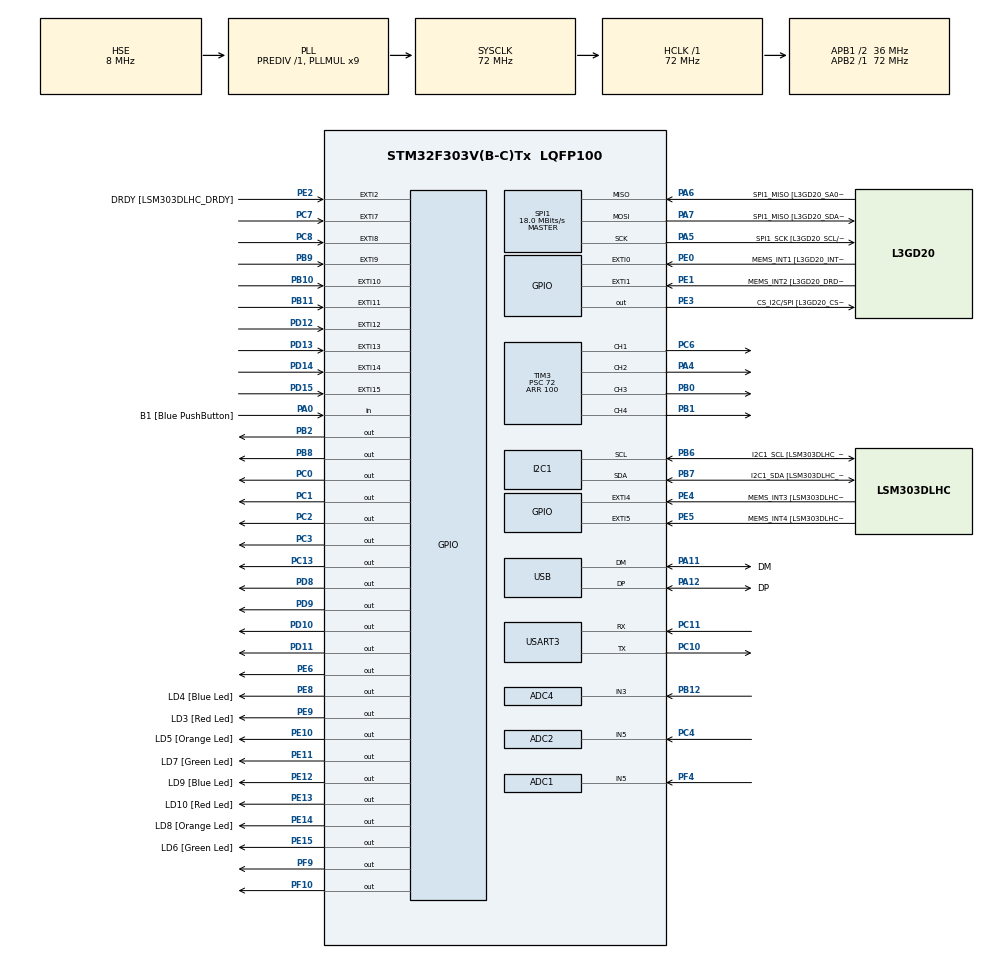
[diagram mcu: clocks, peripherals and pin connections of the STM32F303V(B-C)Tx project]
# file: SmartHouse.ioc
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ADC1.Channel-8\#ChannelRegularConversion=ADC_CHANNEL_5
ADC1.NbrOfConversionFlag=1
ADC1.Offset-8\#ChannelRegularConversion=0
ADC1.OffsetNumber-8\#ChannelRegularConversion=ADC_OFFSET_NONE
ADC1.Rank-8\#ChannelRegularConversion=1
ADC1.SamplingTime-8\#ChannelRegularConversion=ADC_SAMPLETIME_601CYCLES_5
ADC1.master=1
ADC2.Channel-0\#ChannelRegularConversion=ADC_CHANNEL_5
ADC2.NbrOfConversionFlag=1
ADC2.Offset-0\#ChannelRegularConversion=0
ADC2.OffsetNumber-0\#ChannelRegularConversion=ADC_OFFSET_NONE
ADC2.Rank-0\#ChannelRegularConversion=1
ADC2.SamplingTime-0\#ChannelRegularConversion=ADC_SAMPLETIME_601CYCLES_5
ADC4.Channel-0\#ChannelRegularConversion=ADC_CHANNEL_3
ADC4.NbrOfConversionFlag=1
ADC4.Offset-0\#ChannelRegularConversion=0
ADC4.OffsetNumber-0\#ChannelRegularConversion=ADC_OFFSET_NONE
ADC4.Rank-0\#ChannelRegularConversion=1
ADC4.SamplingTime-0\#ChannelRegularConversion=ADC_SAMPLETIME_601CYCLES_5
I2C1.Timing-I2C=0x2000090E
Mcu.Family=STM32F3
Mcu.Name=STM32F303V(B-C)Tx
Mcu.Package=LQFP100
NVIC.EXTI15_10_IRQn=true\:2\:0\:true\:false\:true\:true
NVIC.EXTI9_5_IRQn=true\:2\:0\:true\:false\:true\:true
NVIC.PriorityGroup=NVIC_PRIORITYGROUP_2
NVIC.TIM1_BRK_TIM15_IRQn=true\:1\:0\:true\:false\:true\:true
NVIC.TIM1_UP_TIM16_IRQn=true\:1\:0\:true\:false\:true\:true
NVIC.TIM2_IRQn=true\:2\:0\:true\:false\:true\:true
NVIC.TIM3_IRQn=true\:0\:0\:false\:false\:true\:true
NVIC.TIM4_IRQn=true\:1\:0\:true\:false\:true\:true
NVIC.TIM8_UP_IRQn=true\:2\:0\:true\:false\:true\:true
NVIC.USART3_IRQn=true\:1\:0\:true\:false\:true\:true
PA0.GPIO_Label=B1 [Blue PushButton]
PA0.Signal=GPIO_Input
PA11.GPIO_Label=DM
PA11.Mode=Device
PA11.Signal=USB_DM
PA12.GPIO_Label=DP
PA12.Mode=Device
PA12.Signal=USB_DP
PA13.GPIO_Label=SWDIO
PA13.Mode=Serial_Wire
PA13.Signal=SYS_JTMS-SWDIO
PA14.GPIO_Label=SWCLK
PA14.Mode=Serial_Wire
PA14.Signal=SYS_JTCK-SWCLK
PA4.Signal=S_TIM3_CH2
PA5.GPIO_Label=SPI1_SCK [L3GD20_SCL/SPC]
PA5.Mode=Full_Duplex_Master
PA5.Signal=SPI1_SCK
PA6.GPIO_Label=SPI1_MISO [L3GD20_SA0/SDO]
PA6.Mode=Full_Duplex_Master
PA6.Signal=SPI1_MISO
PA7.GPIO_Label=SPI1_MISO [L3GD20_SDA/SDI/SDO]
PA7.Mode=Full_Duplex_Master
PA7.Signal=SPI1_MOSI
PB0.Signal=S_TIM3_CH3
PB1.Signal=S_TIM3_CH4
PB10.GPIO_PuPd=GPIO_PULLDOWN
PB10.Signal=GPXTI10
PB11.GPIO_PuPd=GPIO_PULLDOWN
PB11.Signal=GPXTI11
PB12.Mode=IN3-Single-Ended
PB12.Signal=ADC4_IN3
PB2.Signal=GPIO_Output
PB3.GPIO_Label=SWO
PB3.Signal=SYS_JTDO-TRACESWO
PB6.GPIO_Label=I2C1_SCL [LSM303DLHC_SCL]
PB6.Mode=I2C
PB6.Signal=I2C1_SCL
PB7.GPIO_Label=I2C1_SDA [LSM303DLHC_SDA]
PB7.Mode=I2C
PB7.Signal=I2C1_SDA
PB8.Signal=GPIO_Output
PB9.Signal=GPXTI9
PC0.Signal=GPIO_Output
PC1.Signal=GPIO_Output
PC10.Mode=Asynchronous
PC10.Signal=USART3_TX
PC11.Mode=Asynchronous
PC11.Signal=USART3_RX
PC13.Signal=GPIO_Output
PC14-OSC32_IN.GPIO_Label=OSC32_IN
PC14-OSC32_IN.Signal=RCC_OSC32_IN
PC15-OSC32_OUT.GPIO_Label=OSC32_OUT
PC15-OSC32_OUT.Signal=RCC_OSC32_OUT
PC2.Signal=GPIO_Output
PC3.Signal=GPIO_Output
PC4.Mode=IN5-Single-Ended
PC4.Signal=ADC2_IN5
PC6.Signal=S_TIM3_CH1
PC7.GPIO_PuPd=GPIO_PULLDOWN
PC7.Signal=GPXTI7
PC8.GPIO_PuPd=GPIO_PULLDOWN
PC8.Signal=GPXTI8
PD10.Signal=GPIO_Output
PD11.Signal=GPIO_Output
PD12.GPIO_PuPd=GPIO_PULLDOWN
PD12.Signal=GPXTI12
PD13.GPIO_PuPd=GPIO_PULLDOWN
PD13.Signal=GPXTI13
PD14.GPIO_PuPd=GPIO_PULLDOWN
PD14.Signal=GPXTI14
PD15.GPIO_PuPd=GPIO_PULLDOWN
PD15.Signal=GPXTI15
PD8.Signal=GPIO_Output
PD9.Signal=GPIO_Output
PE0.GPIO_Label=MEMS_INT1 [L3GD20_INT1]
PE0.GPIO_ModeDefaultEXTI=GPIO_MODE_EVT_RISING
PE0.Signal=GPXTI0
PE1.GPIO_Label=MEMS_INT2 [L3GD20_DRDY/INT2]
PE1.GPIO_ModeDefaultEXTI=GPIO_MODE_EVT_RISING
PE1.Signal=GPXTI1
PE10.GPIO_Label=LD5 [Orange Led]
PE10.Signal=GPIO_Output
PE11.GPIO_Label=LD7 [Green Led]
PE11.Signal=GPIO_Output
PE12.GPIO_Label=LD9 [Blue Led]
PE12.Signal=GPIO_Output
PE13.GPIO_Label=LD10 [Red Led]
PE13.Signal=GPIO_Output
PE14.GPIO_Label=LD8 [Orange Led]
PE14.Signal=GPIO_Output
PE15.GPIO_Label=LD6 [Green Led]
PE15.Signal=GPIO_Output
PE2.GPIO_Label=DRDY [LSM303DLHC_DRDY]
PE2.GPIO_ModeDefaultEXTI=GPIO_MODE_EVT_RISING
PE2.Signal=GPXTI2
PE3.GPIO_Label=CS_I2C/SPI [L3GD20_CS_I2C/SPI]
PE3.Signal=GPIO_Output
PE4.GPIO_Label=MEMS_INT3 [LSM303DLHC_INT1]
PE4.GPIO_ModeDefaultEXTI=GPIO_MODE_EVT_RISING
PE4.Signal=GPXTI4
PE5.GPIO_Label=MEMS_INT4 [LSM303DLHC_INT2]
PE5.GPIO_ModeDefaultEXTI=GPIO_MODE_EVT_RISING
PE5.Signal=GPXTI5
PE6.Signal=GPIO_Output
PE8.GPIO_Label=LD4 [Blue Led]
PE8.Signal=GPIO_Output
PE9.GPIO_Label=LD3 [Red Led]
PE9.Signal=GPIO_Output
PF0-OSC_IN.GPIO_Label=OSC_IN
PF0-OSC_IN.Mode=HSE-External-Clock-Source
PF0-OSC_IN.Signal=RCC_OSC_IN
PF1-OSC_OUT.GPIO_Label=OSC_OUT
PF1-OSC_OUT.Signal=RCC_OSC_OUT
PF10.Signal=GPIO_Output
PF4.Mode=IN5-Single-Ended
PF4.Signal=ADC1_IN5
PF9.Signal=GPIO_Output
ProjectManager.HeapSize=0x200
ProjectManager.StackSize=0x400
ProjectManager.TargetToolchain=MDK-ARM V5
RCC.AHBFreq_Value=72000000
RCC.APB1CLKDivider=RCC_HCLK_DIV2
RCC.APB1Freq_Value=36000000
RCC.APB1TimFreq_Value=72000000
RCC.APB2Freq_Value=72000000
RCC.APB2TimFreq_Value=72000000
RCC.CortexFreq_Value=72000000
RCC.HCLKFreq_Value=72000000
RCC.HSE_VALUE=8000000
RCC.HSI_VALUE=8000000
RCC.LSE_VALUE=32768
RCC.PLLMUL=RCC_PLL_MUL9
RCC.PRESCALERUSB=RCC_USBCLKSOURCE_PLL_DIV1_5
RCC.SYSCLKFreq_VALUE=72000000
RCC.SYSCLKSourceVirtual=RCC_SYSCLKSOURCE_PLLCLK
RCC.USBFreq_Value=48000000
RTC.AsynchPrediv=5
RTC.Format=RTC_FORMAT_BCD
RTC.SynchPrediv=22
SH.S_TIM3_CH1.0=TIM3_CH1,PWM Generation1 CH1
SH.S_TIM3_CH2.0=TIM3_CH2,PWM Generation2 CH2
SH.S_TIM3_CH3.0=TIM3_CH3,PWM Generation3 CH3
SH.S_TIM3_CH4.0=TIM3_CH4,PWM Generation4 CH4
SPI1.BaudRatePrescaler=SPI_BAUDRATEPRESCALER_4
SPI1.BaudRatePrescaler-Full_Duplex_Master=SPI_BAUDRATEPRESCALER_2
SPI1.CalculateBaudRate=18.0 MBits/s
SPI1.CalculateBaudRate-Full_Duplex_Master=24.0 MBits/s
SPI1.Direction=SPI_DIRECTION_2LINES
SPI1.Mode=SPI_MODE_MASTER
SPI1.Mode-Full_Duplex_Master=SPI_MODE_MASTER
SPI1.VirtualType=VM_MASTER
TIM15.Period=1000
TIM15.Prescaler=215
TIM16.Period=10000
TIM16.Prescaler=3599
TIM2.Period=10000
TIM2.Prescaler=7199
TIM3.Channel-PWM\ Generation1\ CH1=TIM_CHANNEL_1
TIM3.Channel-PWM\ Generation2\ CH2=TIM_CHANNEL_2
TIM3.Channel-PWM\ Generation3\ CH3=TIM_CHANNEL_3
TIM3.Channel-PWM\ Generation4\ CH4=TIM_CHANNEL_4
TIM3.Period=100
TIM3.Prescaler=72
TIM4.Period=1000
TIM4.Prescaler=7199
TIM8.Period=10000
TIM8.Prescaler=24
USART3.VirtualMode-Asynchronous=VM_ASYNC
VP_RTC_VS_RTC_Activate.Mode=RTC_Enabled
VP_RTC_VS_RTC_Calendar.Mode=RTC_Calendar
VP_TIM15_VS_ClockSourceINT.Mode=Internal
VP_TIM16_VS_ClockSourceINT.Mode=Enable_Timer
VP_TIM2_VS_ClockSourceINT.Mode=Internal
VP_TIM3_VS_ClockSourceINT.Mode=Internal
VP_TIM4_VS_ClockSourceINT.Mode=Internal
VP_TIM8_VS_ClockSourceINT.Mode=Internal
board=STM32F3DISCOVERY

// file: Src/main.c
/**
  ******************************************************************************
  * @file           : main.c
  * @brief          : Main program body
  ******************************************************************************
  ** This notice applies to any and all portions of this file
  * that are not between comment pairs USER CODE BEGIN and
  * USER CODE END. Other portions of this file, whether
  * inserted by the user or by software development tools
  * are owned by their respective copyright owners.
  *
  * COPYRIGHT(c) 2021 STMicroelectronics
  *
  * Redistribution and use in source and binary forms, with or without modification,
  * are permitted provided that the following conditions are met:
  *   1. Redistributions of source code must retain the above copyright notice,
  *      this list of conditions and the following disclaimer.
  *   2. Redistributions in binary form must reproduce the above copyright notice,
  *      this list of conditions and the following disclaimer in the documentation
  *      and/or other materials provided with the distribution.
  *   3. Neither the name of STMicroelectronics nor the names of its contributors
  *      may be used to endorse or promote products derived from this software
  *      without specific prior written permission.
  *
  * THIS SOFTWARE IS PROVIDED BY THE COPYRIGHT HOLDERS AND CONTRIBUTORS "AS IS"
  * AND ANY EXPRESS OR IMPLIED WARRANTIES, INCLUDING, BUT NOT LIMITED TO, THE
  * IMPLIED WARRANTIES OF MERCHANTABILITY AND FITNESS FOR A PARTICULAR PURPOSE ARE
  * DISCLAIMED. IN NO EVENT SHALL THE COPYRIGHT HOLDER OR CONTRIBUTORS BE LIABLE
  * FOR ANY DIRECT, INDIRECT, INCIDENTAL, SPECIAL, EXEMPLARY, OR CONSEQUENTIAL
  * DAMAGES (INCLUDING, BUT NOT LIMITED TO, PROCUREMENT OF SUBSTITUTE GOODS OR
  * SERVICES; LOSS OF USE, DATA, OR PROFITS; OR BUSINESS INTERRUPTION) HOWEVER
  * CAUSED AND ON ANY THEORY OF LIABILITY, WHETHER IN CONTRACT, STRICT LIABILITY,
  * OR TORT (INCLUDING NEGLIGENCE OR OTHERWISE) ARISING IN ANY WAY OUT OF THE USE
  * OF THIS SOFTWARE, EVEN IF ADVISED OF THE POSSIBILITY OF SUCH DAMAGE.
  *
  ******************************************************************************
  */
#include "main.h"
#include "stm32f3xx_hal.h"

/* USER CODE BEGIN Includes */
#include <stdbool.h>
#include "LiquidCrystal.h"

/* USER CODE END Includes */

ADC_HandleTypeDef hadc1;
ADC_HandleTypeDef hadc2;
ADC_HandleTypeDef hadc4;

I2C_HandleTypeDef hi2c1;

RTC_HandleTypeDef hrtc;

SPI_HandleTypeDef hspi1;

TIM_HandleTypeDef htim2;
TIM_HandleTypeDef htim3;
TIM_HandleTypeDef htim4;
TIM_HandleTypeDef htim8;
TIM_HandleTypeDef htim15;
TIM_HandleTypeDef htim16;

UART_HandleTypeDef huart3;

PCD_HandleTypeDef hpcd_USB_FS;

/* USER CODE BEGIN PV */
/* Private variables ---------------------------------------------------------*/

struct Room{
	bool isOn;
	int fade;
	uint16_t channel;
	uint16_t buttonPin;
	GPIO_TypeDef* buttonTypeDef;
};

struct Room createRoom(uint16_t channel, GPIO_TypeDef* buttonTypeDef, uint16_t buttonPin){
	struct Room room;
	room.channel = channel;
	room.buttonTypeDef = buttonTypeDef;
	room.buttonPin = buttonPin;
	room.isOn = false;
	room.fade = 0;
	return room;
}

struct Room rooms[4];

RTC_TimeTypeDef myTime;
RTC_DateTypeDef myDate;

char uartChar;

typedef unsigned char byte;
void createChars(){
	//Abbaszadeh
	byte A[8] = {
		0x00,
		0x00,
		0x06,
		0x09,
		0x08,
		0x1F,
		0x00,
		0x00
	};

	byte Ba[8] = {
		0x00,
		0x08,
		0x08,
		0x08,
		0x0A,
		0x0F,
		0x00,
		0x04
	};

	byte S1[8] = {
		0x00,
		0x00,
		0x00,
		0x15,
		0x1F,
		0x10,
		0x10,
		0x10
	};

	byte S2[8] = {
		0x00,
		0x00,
		0x00,
		0x00,
		0x08,
		0x08,
		0x08,
		0x0F
	};

	byte Za[8] = {
		0x10,
		0x10,
		0x11,
		0x10,
		0x11,
		0x11,
		0x02,
		0x0C
	};

	byte D[8] = {
		0x00,
		0x00,
		0x04,
		0x02,
		0x01,
		0x12,
		0x0C,
		0x00
	};

	byte H[8] = {
		0x00,
		0x00,
		0x04,
		0x06,
		0x09,
		0x11,
		0x0E,
		0x00
	};

	byte lightOff[8] = {
  0x00,
  0x00,
  0x0E,
  0x11,
  0x11,
  0x11,
  0x0E,
  0x00
	};

	byte lightOn[] = {
		0x00,
		0x00,
		0x0E,
		0x1F,
		0x1F,
		0x1F,
		0x0E,
		0x00
	};

	createChar(0, A);
  createChar(1, Ba);
  createChar(2, S1);
  createChar(3, S2);
  createChar(4, Za);
  createChar(5, D);
  createChar(6, H);
  createChar(7, lightOn);
}

extern void sendUsart(char* message);

/* USER CODE END PV */

void SystemClock_Config(void);
static void MX_GPIO_Init(void);
static void MX_I2C1_Init(void);
static void MX_SPI1_Init(void);
static void MX_USB_PCD_Init(void);
static void MX_TIM3_Init(void);
static void MX_ADC1_Init(void);
static void MX_ADC2_Init(void);
static void MX_ADC4_Init(void);
static void MX_RTC_Init(void);
static void MX_TIM2_Init(void);
static void MX_TIM4_Init(void);
static void MX_TIM15_Init(void);
static void MX_TIM16_Init(void);
static void MX_USART3_UART_Init(void);
static void MX_TIM8_Init(void);

void HAL_TIM_MspPostInit(TIM_HandleTypeDef *htim);

/* USER CODE BEGIN PFP */
/* Private function prototypes -----------------------------------------------*/

/* USER CODE END PFP */

int main(void)
{

  /* MCU Configuration----------------------------------------------------------*/

  /* Reset of all peripherals, Initializes the Flash interface and the Systick. */
  HAL_Init();

  /* Configure the system clock */
  SystemClock_Config();

  /* Initialize all configured peripherals */
  MX_GPIO_Init();
  MX_I2C1_Init();
  MX_SPI1_Init();
  MX_USB_PCD_Init();
  MX_TIM3_Init();
  MX_ADC1_Init();
  MX_ADC2_Init();
  MX_ADC4_Init();
  MX_RTC_Init();
  MX_TIM2_Init();
  MX_TIM4_Init();
  MX_TIM15_Init();
  MX_TIM16_Init();
  MX_USART3_UART_Init();
  MX_TIM8_Init();
  /* USER CODE BEGIN 2 */

	// Menu
	LiquidCrystal(GPIOD, GPIO_PIN_6, GPIO_PIN_5, GPIO_PIN_4, GPIO_PIN_3, GPIO_PIN_2, GPIO_PIN_1, GPIO_PIN_0);
	begin(20, 4);
	createChars();
	setCursor(7,0);
	print("Status");
	setCursor(5,1);
	print("Deactivate");
	setCursor(3,2);
	print("Change password");
	setCursor(6,3);
	print("About us");

	HAL_UART_Receive_IT(&huart3, &uartChar, sizeof(uartChar));

	rooms[0] = createRoom(TIM_CHANNEL_3 , GPIOB, GPIO_PIN_10);
	rooms[1] = createRoom(TIM_CHANNEL_2 , GPIOB, GPIO_PIN_11);
	rooms[2] = createRoom(TIM_CHANNEL_4 , GPIOC, GPIO_PIN_7);
	rooms[3] = createRoom(TIM_CHANNEL_1 , GPIOC, GPIO_PIN_8);

	// Keypad
	HAL_GPIO_WritePin(GPIOD, GPIO_PIN_8, 1);
	HAL_GPIO_WritePin(GPIOD, GPIO_PIN_9, 1);
	HAL_GPIO_WritePin(GPIOD, GPIO_PIN_10, 1);
	HAL_GPIO_WritePin(GPIOD, GPIO_PIN_11, 1);

	// PWMs
	HAL_TIM_PWM_Start(&htim3, TIM_CHANNEL_1);
	HAL_TIM_PWM_Start(&htim3, TIM_CHANNEL_2);
	HAL_TIM_PWM_Start(&htim3, TIM_CHANNEL_3);
	HAL_TIM_PWM_Start(&htim3, TIM_CHANNEL_4);

	// RTC
	myTime.Hours = 23;
	myTime.Minutes = 55;
	myTime.Seconds = 00;

	myDate.Year = 21;
	myDate.Month = 1;
	myDate.Date = 12;

	HAL_RTC_SetDate(&hrtc, &myDate, RTC_FORMAT_BIN);
	HAL_RTC_SetTime(&hrtc, &myTime, RTC_FORMAT_BIN);

	sendUsart("System running...");

	// Timers
	HAL_TIM_Base_Start_IT(&htim2);
	HAL_TIM_Base_Start_IT(&htim4);
	HAL_TIM_Base_Start_IT(&htim15);
	HAL_TIM_Base_Start_IT(&htim16);
	HAL_TIM_Base_Start_IT(&htim8);

	// ADCs
	HAL_ADC_Start_IT(&hadc1);
	HAL_ADC_Start_IT(&hadc2);
	HAL_ADC_Start_IT(&hadc4);

  /* USER CODE END 2 */

  /* Infinite loop */
  /* USER CODE BEGIN WHILE */
	int brightness = 100;

  while (1)
  {
//		turnOff7seg();
//			HAL_GPIO_WritePin(GPIOF, GPIO_PIN_9, 0);
//		numberToBCD(2);
//
//		HAL_Delay(3);
//
//		turnOff7seg();
//			HAL_GPIO_WritePin(GPIOF, GPIO_PIN_10, 0);
//		numberToBCD(5);
//		HAL_GPIO_WritePin(GPIOB,GPIO_PIN_2,1);
//
//		HAL_Delay(3);
//
//		turnOff7seg();
//			HAL_GPIO_WritePin(GPIOC, GPIO_PIN_13, 0);
//		numberToBCD(8);
//
//		HAL_Delay(3);
//
//		turnOff7seg();
//			HAL_GPIO_WritePin(GPIOE, GPIO_PIN_6, 0);
//		numberToBCD(1);
//
//		HAL_Delay(3);

//		__HAL_TIM_SET_COMPARE(&htim3, TIM_CHANNEL_1, brightness);
//		__HAL_TIM_SET_COMPARE(&htim3, TIM_CHANNEL_2, brightness);
//		__HAL_TIM_SET_COMPARE(&htim3, TIM_CHANNEL_3, brightness);
//		__HAL_TIM_SET_COMPARE(&htim3, TIM_CHANNEL_4, brightness);
		//brightness = (brightness+10)%100;
		//HAL_Delay(100);

  /* USER CODE END WHILE */

  }

}

void SystemClock_Config(void)
{

  RCC_OscInitTypeDef RCC_OscInitStruct;
  RCC_ClkInitTypeDef RCC_ClkInitStruct;
  RCC_PeriphCLKInitTypeDef PeriphClkInit;

    /**Initializes the CPU, AHB and APB busses clocks
    */
  RCC_OscInitStruct.OscillatorType = RCC_OSCILLATORTYPE_HSI|RCC_OSCILLATORTYPE_LSI
                              |RCC_OSCILLATORTYPE_HSE;
  RCC_OscInitStruct.HSEState = RCC_HSE_BYPASS;
  RCC_OscInitStruct.HSEPredivValue = RCC_HSE_PREDIV_DIV1;
  RCC_OscInitStruct.HSIState = RCC_HSI_ON;
  RCC_OscInitStruct.HSICalibrationValue = 16;
  RCC_OscInitStruct.LSIState = RCC_LSI_ON;
  RCC_OscInitStruct.PLL.PLLState = RCC_PLL_ON;
  RCC_OscInitStruct.PLL.PLLSource = RCC_PLLSOURCE_HSE;
  RCC_OscInitStruct.PLL.PLLMUL = RCC_PLL_MUL9;
  if (HAL_RCC_OscConfig(&RCC_OscInitStruct) != HAL_OK)
  {
    _Error_Handler(__FILE__, __LINE__);
  }

    /**Initializes the CPU, AHB and APB busses clocks
    */
  RCC_ClkInitStruct.ClockType = RCC_CLOCKTYPE_HCLK|RCC_CLOCKTYPE_SYSCLK
                              |RCC_CLOCKTYPE_PCLK1|RCC_CLOCKTYPE_PCLK2;
  RCC_ClkInitStruct.SYSCLKSource = RCC_SYSCLKSOURCE_PLLCLK;
  RCC_ClkInitStruct.AHBCLKDivider = RCC_SYSCLK_DIV1;
  RCC_ClkInitStruct.APB1CLKDivider = RCC_HCLK_DIV2;
  RCC_ClkInitStruct.APB2CLKDivider = RCC_HCLK_DIV1;

  if (HAL_RCC_ClockConfig(&RCC_ClkInitStruct, FLASH_LATENCY_2) != HAL_OK)
  {
    _Error_Handler(__FILE__, __LINE__);
  }

  PeriphClkInit.PeriphClockSelection = RCC_PERIPHCLK_USB|RCC_PERIPHCLK_USART3
                              |RCC_PERIPHCLK_I2C1|RCC_PERIPHCLK_RTC
                              |RCC_PERIPHCLK_TIM8|RCC_PERIPHCLK_ADC12
                              |RCC_PERIPHCLK_ADC34;
  PeriphClkInit.Usart3ClockSelection = RCC_USART3CLKSOURCE_PCLK1;
  PeriphClkInit.Adc12ClockSelection = RCC_ADC12PLLCLK_DIV1;
  PeriphClkInit.Adc34ClockSelection = RCC_ADC34PLLCLK_DIV1;
  PeriphClkInit.I2c1ClockSelection = RCC_I2C1CLKSOURCE_HSI;
  PeriphClkInit.RTCClockSelection = RCC_RTCCLKSOURCE_LSI;
  PeriphClkInit.USBClockSelection = RCC_USBCLKSOURCE_PLL_DIV1_5;
  PeriphClkInit.Tim8ClockSelection = RCC_TIM8CLK_HCLK;
  if (HAL_RCCEx_PeriphCLKConfig(&PeriphClkInit) != HAL_OK)
  {
    _Error_Handler(__FILE__, __LINE__);
  }

    /**Configure the Systick interrupt time
    */
  HAL_SYSTICK_Config(HAL_RCC_GetHCLKFreq()/1000);

    /**Configure the Systick
    */
  HAL_SYSTICK_CLKSourceConfig(SYSTICK_CLKSOURCE_HCLK);

  /* SysTick_IRQn interrupt configuration */
  HAL_NVIC_SetPriority(SysTick_IRQn, 0, 0);
}

/* ADC1 init function */
static void MX_ADC1_Init(void)
{

  ADC_MultiModeTypeDef multimode;
  ADC_ChannelConfTypeDef sConfig;

    /**Common config
    */
  hadc1.Instance = ADC1;
  hadc1.Init.ClockPrescaler = ADC_CLOCK_ASYNC_DIV1;
  hadc1.Init.Resolution = ADC_RESOLUTION_12B;
  hadc1.Init.ScanConvMode = ADC_SCAN_DISABLE;
  hadc1.Init.ContinuousConvMode = DISABLE;
  hadc1.Init.DiscontinuousConvMode = DISABLE;
  hadc1.Init.ExternalTrigConvEdge = ADC_EXTERNALTRIGCONVEDGE_NONE;
  hadc1.Init.ExternalTrigConv = ADC_SOFTWARE_START;
  hadc1.Init.DataAlign = ADC_DATAALIGN_RIGHT;
  hadc1.Init.NbrOfConversion = 1;
  hadc1.Init.DMAContinuousRequests = DISABLE;
  hadc1.Init.EOCSelection = ADC_EOC_SINGLE_CONV;
  hadc1.Init.LowPowerAutoWait = DISABLE;
  hadc1.Init.Overrun = ADC_OVR_DATA_OVERWRITTEN;
  if (HAL_ADC_Init(&hadc1) != HAL_OK)
  {
    _Error_Handler(__FILE__, __LINE__);
  }

    /**Configure the ADC multi-mode
    */
  multimode.Mode = ADC_MODE_INDEPENDENT;
  if (HAL_ADCEx_MultiModeConfigChannel(&hadc1, &multimode) != HAL_OK)
  {
    _Error_Handler(__FILE__, __LINE__);
  }

    /**Configure Regular Channel
    */
  sConfig.Channel = ADC_CHANNEL_5;
  sConfig.Rank = ADC_REGULAR_RANK_1;
  sConfig.SingleDiff = ADC_SINGLE_ENDED;
  sConfig.SamplingTime = ADC_SAMPLETIME_601CYCLES_5;
  sConfig.OffsetNumber = ADC_OFFSET_NONE;
  sConfig.Offset = 0;
  if (HAL_ADC_ConfigChannel(&hadc1, &sConfig) != HAL_OK)
  {
    _Error_Handler(__FILE__, __LINE__);
  }

}

/* ADC2 init function */
static void MX_ADC2_Init(void)
{

  ADC_ChannelConfTypeDef sConfig;

    /**Common config
    */
  hadc2.Instance = ADC2;
  hadc2.Init.ClockPrescaler = ADC_CLOCK_ASYNC_DIV1;
  hadc2.Init.Resolution = ADC_RESOLUTION_12B;
  hadc2.Init.ScanConvMode = ADC_SCAN_DISABLE;
  hadc2.Init.ContinuousConvMode = DISABLE;
  hadc2.Init.DiscontinuousConvMode = DISABLE;
  hadc2.Init.ExternalTrigConvEdge = ADC_EXTERNALTRIGCONVEDGE_NONE;
  hadc2.Init.ExternalTrigConv = ADC_SOFTWARE_START;
  hadc2.Init.DataAlign = ADC_DATAALIGN_RIGHT;
  hadc2.Init.NbrOfConversion = 1;
  hadc2.Init.DMAContinuousRequests = DISABLE;
  hadc2.Init.EOCSelection = ADC_EOC_SINGLE_CONV;
  hadc2.Init.LowPowerAutoWait = DISABLE;
  hadc2.Init.Overrun = ADC_OVR_DATA_OVERWRITTEN;
  if (HAL_ADC_Init(&hadc2) != HAL_OK)
  {
    _Error_Handler(__FILE__, __LINE__);
  }

    /**Configure Regular Channel
    */
  sConfig.Channel = ADC_CHANNEL_5;
  sConfig.Rank = ADC_REGULAR_RANK_1;
  sConfig.SingleDiff = ADC_SINGLE_ENDED;
  sConfig.SamplingTime = ADC_SAMPLETIME_601CYCLES_5;
  sConfig.OffsetNumber = ADC_OFFSET_NONE;
  sConfig.Offset = 0;
  if (HAL_ADC_ConfigChannel(&hadc2, &sConfig) != HAL_OK)
  {
    _Error_Handler(__FILE__, __LINE__);
  }

}

/* ADC4 init function */
static void MX_ADC4_Init(void)
{

  ADC_ChannelConfTypeDef sConfig;

    /**Common config
    */
  hadc4.Instance = ADC4;
  hadc4.Init.ClockPrescaler = ADC_CLOCK_ASYNC_DIV1;
  hadc4.Init.Resolution = ADC_RESOLUTION_12B;
  hadc4.Init.ScanConvMode = ADC_SCAN_DISABLE;
  hadc4.Init.ContinuousConvMode = DISABLE;
  hadc4.Init.DiscontinuousConvMode = DISABLE;
  hadc4.Init.ExternalTrigConvEdge = ADC_EXTERNALTRIGCONVEDGE_NONE;
  hadc4.Init.ExternalTrigConv = ADC_SOFTWARE_START;
  hadc4.Init.DataAlign = ADC_DATAALIGN_RIGHT;
  hadc4.Init.NbrOfConversion = 1;
  hadc4.Init.DMAContinuousRequests = DISABLE;
  hadc4.Init.EOCSelection = ADC_EOC_SINGLE_CONV;
  hadc4.Init.LowPowerAutoWait = DISABLE;
  hadc4.Init.Overrun = ADC_OVR_DATA_OVERWRITTEN;
  if (HAL_ADC_Init(&hadc4) != HAL_OK)
  {
    _Error_Handler(__FILE__, __LINE__);
  }

    /**Configure Regular Channel
    */
  sConfig.Channel = ADC_CHANNEL_3;
  sConfig.Rank = ADC_REGULAR_RANK_1;
  sConfig.SingleDiff = ADC_SINGLE_ENDED;
  sConfig.SamplingTime = ADC_SAMPLETIME_601CYCLES_5;
  sConfig.OffsetNumber = ADC_OFFSET_NONE;
  sConfig.Offset = 0;
  if (HAL_ADC_ConfigChannel(&hadc4, &sConfig) != HAL_OK)
  {
    _Error_Handler(__FILE__, __LINE__);
  }

}

/* I2C1 init function */
static void MX_I2C1_Init(void)
{

  hi2c1.Instance = I2C1;
  hi2c1.Init.Timing = 0x2000090E;
  hi2c1.Init.OwnAddress1 = 0;
  hi2c1.Init.AddressingMode = I2C_ADDRESSINGMODE_7BIT;
  hi2c1.Init.DualAddressMode = I2C_DUALADDRESS_DISABLE;
  hi2c1.Init.OwnAddress2 = 0;
  hi2c1.Init.OwnAddress2Masks = I2C_OA2_NOMASK;
  hi2c1.Init.GeneralCallMode = I2C_GENERALCALL_DISABLE;
  hi2c1.Init.NoStretchMode = I2C_NOSTRETCH_DISABLE;
  if (HAL_I2C_Init(&hi2c1) != HAL_OK)
  {
    _Error_Handler(__FILE__, __LINE__);
  }

    /**Configure Analogue filter
    */
  if (HAL_I2CEx_ConfigAnalogFilter(&hi2c1, I2C_ANALOGFILTER_ENABLE) != HAL_OK)
  {
    _Error_Handler(__FILE__, __LINE__);
  }

    /**Configure Digital filter
    */
  if (HAL_I2CEx_ConfigDigitalFilter(&hi2c1, 0) != HAL_OK)
  {
    _Error_Handler(__FILE__, __LINE__);
  }

}

/* RTC init function */
static void MX_RTC_Init(void)
{

  RTC_TimeTypeDef sTime;
  RTC_DateTypeDef sDate;

    /**Initialize RTC Only
    */
  hrtc.Instance = RTC;
if(HAL_RTCEx_BKUPRead(&hrtc, RTC_BKP_DR0) != 0x32F2){
  hrtc.Init.HourFormat = RTC_HOURFORMAT_24;
  hrtc.Init.AsynchPrediv = 5;
  hrtc.Init.SynchPrediv = 22;
  hrtc.Init.OutPut = RTC_OUTPUT_DISABLE;
  hrtc.Init.OutPutPolarity = RTC_OUTPUT_POLARITY_HIGH;
  hrtc.Init.OutPutType = RTC_OUTPUT_TYPE_OPENDRAIN;
  if (HAL_RTC_Init(&hrtc) != HAL_OK)
  {
    _Error_Handler(__FILE__, __LINE__);
  }

    /**Initialize RTC and set the Time and Date
    */
  sTime.Hours = 0x0;
  sTime.Minutes = 0x0;
  sTime.Seconds = 0x0;
  sTime.DayLightSaving = RTC_DAYLIGHTSAVING_NONE;
  sTime.StoreOperation = RTC_STOREOPERATION_RESET;
  if (HAL_RTC_SetTime(&hrtc, &sTime, RTC_FORMAT_BCD) != HAL_OK)
  {
    _Error_Handler(__FILE__, __LINE__);
  }

  sDate.WeekDay = RTC_WEEKDAY_MONDAY;
  sDate.Month = RTC_MONTH_JANUARY;
  sDate.Date = 0x1;
  sDate.Year = 0x0;

  if (HAL_RTC_SetDate(&hrtc, &sDate, RTC_FORMAT_BCD) != HAL_OK)
  {
    _Error_Handler(__FILE__, __LINE__);
  }

    HAL_RTCEx_BKUPWrite(&hrtc,RTC_BKP_DR0,0x32F2);
  }

}

/* SPI1 init function */
static void MX_SPI1_Init(void)
{

  /* SPI1 parameter configuration*/
  hspi1.Instance = SPI1;
  hspi1.Init.Mode = SPI_MODE_MASTER;
  hspi1.Init.Direction = SPI_DIRECTION_2LINES;
  hspi1.Init.DataSize = SPI_DATASIZE_4BIT;
  hspi1.Init.CLKPolarity = SPI_POLARITY_LOW;
  hspi1.Init.CLKPhase = SPI_PHASE_1EDGE;
  hspi1.Init.NSS = SPI_NSS_SOFT;
  hspi1.Init.BaudRatePrescaler = SPI_BAUDRATEPRESCALER_4;
  hspi1.Init.FirstBit = SPI_FIRSTBIT_MSB;
  hspi1.Init.TIMode = SPI_TIMODE_DISABLE;
  hspi1.Init.CRCCalculation = SPI_CRCCALCULATION_DISABLE;
  hspi1.Init.CRCPolynomial = 7;
  hspi1.Init.CRCLength = SPI_CRC_LENGTH_DATASIZE;
  hspi1.Init.NSSPMode = SPI_NSS_PULSE_ENABLE;
  if (HAL_SPI_Init(&hspi1) != HAL_OK)
  {
    _Error_Handler(__FILE__, __LINE__);
  }

}

/* TIM2 init function */
static void MX_TIM2_Init(void)
{

  TIM_ClockConfigTypeDef sClockSourceConfig;
  TIM_MasterConfigTypeDef sMasterConfig;

  htim2.Instance = TIM2;
  htim2.Init.Prescaler = 7199;
  htim2.Init.CounterMode = TIM_COUNTERMODE_UP;
  htim2.Init.Period = 10000;
  htim2.Init.ClockDivision = TIM_CLOCKDIVISION_DIV1;
  htim2.Init.AutoReloadPreload = TIM_AUTORELOAD_PRELOAD_DISABLE;
  if (HAL_TIM_Base_Init(&htim2) != HAL_OK)
  {
    _Error_Handler(__FILE__, __LINE__);
  }

  sClockSourceConfig.ClockSource = TIM_CLOCKSOURCE_INTERNAL;
  if (HAL_TIM_ConfigClockSource(&htim2, &sClockSourceConfig) != HAL_OK)
  {
    _Error_Handler(__FILE__, __LINE__);
  }

  sMasterConfig.MasterOutputTrigger = TIM_TRGO_RESET;
  sMasterConfig.MasterSlaveMode = TIM_MASTERSLAVEMODE_DISABLE;
  if (HAL_TIMEx_MasterConfigSynchronization(&htim2, &sMasterConfig) != HAL_OK)
  {
    _Error_Handler(__FILE__, __LINE__);
  }

}

/* TIM3 init function */
static void MX_TIM3_Init(void)
{

  TIM_ClockConfigTypeDef sClockSourceConfig;
  TIM_MasterConfigTypeDef sMasterConfig;
  TIM_OC_InitTypeDef sConfigOC;

  htim3.Instance = TIM3;
  htim3.Init.Prescaler = 72;
  htim3.Init.CounterMode = TIM_COUNTERMODE_UP;
  htim3.Init.Period = 100;
  htim3.Init.ClockDivision = TIM_CLOCKDIVISION_DIV1;
  htim3.Init.AutoReloadPreload = TIM_AUTORELOAD_PRELOAD_DISABLE;
  if (HAL_TIM_Base_Init(&htim3) != HAL_OK)
  {
    _Error_Handler(__FILE__, __LINE__);
  }

  sClockSourceConfig.ClockSource = TIM_CLOCKSOURCE_INTERNAL;
  if (HAL_TIM_ConfigClockSource(&htim3, &sClockSourceConfig) != HAL_OK)
  {
    _Error_Handler(__FILE__, __LINE__);
  }

  if (HAL_TIM_PWM_Init(&htim3) != HAL_OK)
  {
    _Error_Handler(__FILE__, __LINE__);
  }

  sMasterConfig.MasterOutputTrigger = TIM_TRGO_RESET;
  sMasterConfig.MasterSlaveMode = TIM_MASTERSLAVEMODE_DISABLE;
  if (HAL_TIMEx_MasterConfigSynchronization(&htim3, &sMasterConfig) != HAL_OK)
  {
    _Error_Handler(__FILE__, __LINE__);
  }

  sConfigOC.OCMode = TIM_OCMODE_PWM1;
  sConfigOC.Pulse = 0;
  sConfigOC.OCPolarity = TIM_OCPOLARITY_HIGH;
  sConfigOC.OCFastMode = TIM_OCFAST_DISABLE;
  if (HAL_TIM_PWM_ConfigChannel(&htim3, &sConfigOC, TIM_CHANNEL_1) != HAL_OK)
  {
    _Error_Handler(__FILE__, __LINE__);
  }

  if (HAL_TIM_PWM_ConfigChannel(&htim3, &sConfigOC, TIM_CHANNEL_2) != HAL_OK)
  {
    _Error_Handler(__FILE__, __LINE__);
  }

  if (HAL_TIM_PWM_ConfigChannel(&htim3, &sConfigOC, TIM_CHANNEL_3) != HAL_OK)
  {
    _Error_Handler(__FILE__, __LINE__);
  }

  if (HAL_TIM_PWM_ConfigChannel(&htim3, &sConfigOC, TIM_CHANNEL_4) != HAL_OK)
  {
    _Error_Handler(__FILE__, __LINE__);
  }

  HAL_TIM_MspPostInit(&htim3);

}

/* TIM4 init function */
static void MX_TIM4_Init(void)
{

  TIM_ClockConfigTypeDef sClockSourceConfig;
  TIM_MasterConfigTypeDef sMasterConfig;

  htim4.Instance = TIM4;
  htim4.Init.Prescaler = 7199;
  htim4.Init.CounterMode = TIM_COUNTERMODE_UP;
  htim4.Init.Period = 1000;
  htim4.Init.ClockDivision = TIM_CLOCKDIVISION_DIV1;
  htim4.Init.AutoReloadPreload = TIM_AUTORELOAD_PRELOAD_DISABLE;
  if (HAL_TIM_Base_Init(&htim4) != HAL_OK)
  {
    _Error_Handler(__FILE__, __LINE__);
  }

  sClockSourceConfig.ClockSource = TIM_CLOCKSOURCE_INTERNAL;
  if (HAL_TIM_ConfigClockSource(&htim4, &sClockSourceConfig) != HAL_OK)
  {
    _Error_Handler(__FILE__, __LINE__);
  }

  sMasterConfig.MasterOutputTrigger = TIM_TRGO_RESET;
  sMasterConfig.MasterSlaveMode = TIM_MASTERSLAVEMODE_DISABLE;
  if (HAL_TIMEx_MasterConfigSynchronization(&htim4, &sMasterConfig) != HAL_OK)
  {
    _Error_Handler(__FILE__, __LINE__);
  }

}

/* TIM8 init function */
static void MX_TIM8_Init(void)
{

  TIM_ClockConfigTypeDef sClockSourceConfig;
  TIM_MasterConfigTypeDef sMasterConfig;

  htim8.Instance = TIM8;
  htim8.Init.Prescaler = 24;
  htim8.Init.CounterMode = TIM_COUNTERMODE_UP;
  htim8.Init.Period = 10000;
  htim8.Init.ClockDivision = TIM_CLOCKDIVISION_DIV1;
  htim8.Init.RepetitionCounter = 0;
  htim8.Init.AutoReloadPreload = TIM_AUTORELOAD_PRELOAD_DISABLE;
  if (HAL_TIM_Base_Init(&htim8) != HAL_OK)
  {
    _Error_Handler(__FILE__, __LINE__);
  }

  sClockSourceConfig.ClockSource = TIM_CLOCKSOURCE_INTERNAL;
  if (HAL_TIM_ConfigClockSource(&htim8, &sClockSourceConfig) != HAL_OK)
  {
    _Error_Handler(__FILE__, __LINE__);
  }

  sMasterConfig.MasterOutputTrigger = TIM_TRGO_RESET;
  sMasterConfig.MasterOutputTrigger2 = TIM_TRGO2_RESET;
  sMasterConfig.MasterSlaveMode = TIM_MASTERSLAVEMODE_DISABLE;
  if (HAL_TIMEx_MasterConfigSynchronization(&htim8, &sMasterConfig) != HAL_OK)
  {
    _Error_Handler(__FILE__, __LINE__);
  }

}

/* TIM15 init function */
static void MX_TIM15_Init(void)
{

  TIM_ClockConfigTypeDef sClockSourceConfig;
  TIM_MasterConfigTypeDef sMasterConfig;

  htim15.Instance = TIM15;
  htim15.Init.Prescaler = 215;
  htim15.Init.CounterMode = TIM_COUNTERMODE_UP;
  htim15.Init.Period = 1000;
  htim15.Init.ClockDivision = TIM_CLOCKDIVISION_DIV1;
  htim15.Init.RepetitionCounter = 0;
  htim15.Init.AutoReloadPreload = TIM_AUTORELOAD_PRELOAD_DISABLE;
  if (HAL_TIM_Base_Init(&htim15) != HAL_OK)
  {
    _Error_Handler(__FILE__, __LINE__);
  }

  sClockSourceConfig.ClockSource = TIM_CLOCKSOURCE_INTERNAL;
  if (HAL_TIM_ConfigClockSource(&htim15, &sClockSourceConfig) != HAL_OK)
  {
    _Error_Handler(__FILE__, __LINE__);
  }

  sMasterConfig.MasterOutputTrigger = TIM_TRGO_RESET;
  sMasterConfig.MasterSlaveMode = TIM_MASTERSLAVEMODE_DISABLE;
  if (HAL_TIMEx_MasterConfigSynchronization(&htim15, &sMasterConfig) != HAL_OK)
  {
    _Error_Handler(__FILE__, __LINE__);
  }

}

/* TIM16 init function */
static void MX_TIM16_Init(void)
{

  htim16.Instance = TIM16;
  htim16.Init.Prescaler = 3599;
  htim16.Init.CounterMode = TIM_COUNTERMODE_UP;
  htim16.Init.Period = 10000;
  htim16.Init.ClockDivision = TIM_CLOCKDIVISION_DIV1;
  htim16.Init.RepetitionCounter = 0;
  htim16.Init.AutoReloadPreload = TIM_AUTORELOAD_PRELOAD_DISABLE;
  if (HAL_TIM_Base_Init(&htim16) != HAL_OK)
  {
    _Error_Handler(__FILE__, __LINE__);
  }

}

/* USART3 init function */
static void MX_USART3_UART_Init(void)
{

  huart3.Instance = USART3;
  huart3.Init.BaudRate = 38400;
  huart3.Init.WordLength = UART_WORDLENGTH_8B;
  huart3.Init.StopBits = UART_STOPBITS_1;
  huart3.Init.Parity = UART_PARITY_NONE;
  huart3.Init.Mode = UART_MODE_TX_RX;
  huart3.Init.HwFlowCtl = UART_HWCONTROL_NONE;
  huart3.Init.OverSampling = UART_OVERSAMPLING_16;
  huart3.Init.OneBitSampling = UART_ONE_BIT_SAMPLE_DISABLE;
  huart3.AdvancedInit.AdvFeatureInit = UART_ADVFEATURE_NO_INIT;
  if (HAL_UART_Init(&huart3) != HAL_OK)
  {
    _Error_Handler(__FILE__, __LINE__);
  }

}

/* USB init function */
static void MX_USB_PCD_Init(void)
{

  hpcd_USB_FS.Instance = USB;
  hpcd_USB_FS.Init.dev_endpoints = 8;
  hpcd_USB_FS.Init.speed = PCD_SPEED_FULL;
  hpcd_USB_FS.Init.ep0_mps = DEP0CTL_MPS_64;
  hpcd_USB_FS.Init.phy_itface = PCD_PHY_EMBEDDED;
  hpcd_USB_FS.Init.low_power_enable = DISABLE;
  hpcd_USB_FS.Init.battery_charging_enable = DISABLE;
  if (HAL_PCD_Init(&hpcd_USB_FS) != HAL_OK)
  {
    _Error_Handler(__FILE__, __LINE__);
  }

}

/** Configure pins as
        * Analog
        * Input
        * Output
        * EVENT_OUT
        * EXTI
        * Free pins are configured automatically as Analog (this feature is enabled through
        * the Code Generation settings)
*/
static void MX_GPIO_Init(void)
{

  GPIO_InitTypeDef GPIO_InitStruct;

  /* GPIO Ports Clock Enable */
  __HAL_RCC_GPIOE_CLK_ENABLE();
  __HAL_RCC_GPIOC_CLK_ENABLE();
  __HAL_RCC_GPIOF_CLK_ENABLE();
  __HAL_RCC_GPIOA_CLK_ENABLE();
  __HAL_RCC_GPIOB_CLK_ENABLE();
  __HAL_RCC_GPIOD_CLK_ENABLE();

  /*Configure GPIO pin Output Level */
  HAL_GPIO_WritePin(GPIOE, CS_I2C_SPI_Pin|GPIO_PIN_6|LD4_Pin|LD3_Pin
                          |LD5_Pin|LD7_Pin|LD9_Pin|LD10_Pin
                          |LD8_Pin|LD6_Pin, GPIO_PIN_RESET);

  /*Configure GPIO pin Output Level */
  HAL_GPIO_WritePin(GPIOC, GPIO_PIN_13|GPIO_PIN_0|GPIO_PIN_1|GPIO_PIN_2
                          |GPIO_PIN_3, GPIO_PIN_RESET);

  /*Configure GPIO pin Output Level */
  HAL_GPIO_WritePin(GPIOF, GPIO_PIN_9|GPIO_PIN_10, GPIO_PIN_RESET);

  /*Configure GPIO pin Output Level */
  HAL_GPIO_WritePin(GPIOB, GPIO_PIN_2|GPIO_PIN_8, GPIO_PIN_RESET);

  /*Configure GPIO pin Output Level */
  HAL_GPIO_WritePin(GPIOD, GPIO_PIN_8|GPIO_PIN_9|GPIO_PIN_10|GPIO_PIN_11, GPIO_PIN_RESET);

  /*Configure GPIO pins : DRDY_Pin MEMS_INT3_Pin MEMS_INT4_Pin MEMS_INT1_Pin
                           MEMS_INT2_Pin */
  GPIO_InitStruct.Pin = DRDY_Pin|MEMS_INT3_Pin|MEMS_INT4_Pin|MEMS_INT1_Pin
                          |MEMS_INT2_Pin;
  GPIO_InitStruct.Mode = GPIO_MODE_EVT_RISING;
  GPIO_InitStruct.Pull = GPIO_NOPULL;
  HAL_GPIO_Init(GPIOE, &GPIO_InitStruct);

  /*Configure GPIO pins : CS_I2C_SPI_Pin PE6 LD4_Pin LD3_Pin
                           LD5_Pin LD7_Pin LD9_Pin LD10_Pin
                           LD8_Pin LD6_Pin */
  GPIO_InitStruct.Pin = CS_I2C_SPI_Pin|GPIO_PIN_6|LD4_Pin|LD3_Pin
                          |LD5_Pin|LD7_Pin|LD9_Pin|LD10_Pin
                          |LD8_Pin|LD6_Pin;
  GPIO_InitStruct.Mode = GPIO_MODE_OUTPUT_PP;
  GPIO_InitStruct.Pull = GPIO_NOPULL;
  GPIO_InitStruct.Speed = GPIO_SPEED_FREQ_LOW;
  HAL_GPIO_Init(GPIOE, &GPIO_InitStruct);

  /*Configure GPIO pins : PC13 PC0 PC1 PC2
                           PC3 */
  GPIO_InitStruct.Pin = GPIO_PIN_13|GPIO_PIN_0|GPIO_PIN_1|GPIO_PIN_2
                          |GPIO_PIN_3;
  GPIO_InitStruct.Mode = GPIO_MODE_OUTPUT_PP;
  GPIO_InitStruct.Pull = GPIO_NOPULL;
  GPIO_InitStruct.Speed = GPIO_SPEED_FREQ_LOW;
  HAL_GPIO_Init(GPIOC, &GPIO_InitStruct);

  /*Configure GPIO pins : PF9 PF10 */
  GPIO_InitStruct.Pin = GPIO_PIN_9|GPIO_PIN_10;
  GPIO_InitStruct.Mode = GPIO_MODE_OUTPUT_PP;
  GPIO_InitStruct.Pull = GPIO_NOPULL;
  GPIO_InitStruct.Speed = GPIO_SPEED_FREQ_LOW;
  HAL_GPIO_Init(GPIOF, &GPIO_InitStruct);

  /*Configure GPIO pins : PF2 PF6 */
  GPIO_InitStruct.Pin = GPIO_PIN_2|GPIO_PIN_6;
  GPIO_InitStruct.Mode = GPIO_MODE_ANALOG;
  GPIO_InitStruct.Pull = GPIO_NOPULL;
  HAL_GPIO_Init(GPIOF, &GPIO_InitStruct);

  /*Configure GPIO pin : B1_Pin */
  GPIO_InitStruct.Pin = B1_Pin;
  GPIO_InitStruct.Mode = GPIO_MODE_INPUT;
  GPIO_InitStruct.Pull = GPIO_NOPULL;
  HAL_GPIO_Init(B1_GPIO_Port, &GPIO_InitStruct);

  /*Configure GPIO pins : PA1 PA2 PA3 PA8
                           PA9 PA10 PA15 */
  GPIO_InitStruct.Pin = GPIO_PIN_1|GPIO_PIN_2|GPIO_PIN_3|GPIO_PIN_8
                          |GPIO_PIN_9|GPIO_PIN_10|GPIO_PIN_15;
  GPIO_InitStruct.Mode = GPIO_MODE_ANALOG;
  GPIO_InitStruct.Pull = GPIO_NOPULL;
  HAL_GPIO_Init(GPIOA, &GPIO_InitStruct);

  /*Configure GPIO pins : PC5 PC9 PC12 */
  GPIO_InitStruct.Pin = GPIO_PIN_5|GPIO_PIN_9|GPIO_PIN_12;
  GPIO_InitStruct.Mode = GPIO_MODE_ANALOG;
  GPIO_InitStruct.Pull = GPIO_NOPULL;
  HAL_GPIO_Init(GPIOC, &GPIO_InitStruct);

  /*Configure GPIO pins : PB2 PB8 */
  GPIO_InitStruct.Pin = GPIO_PIN_2|GPIO_PIN_8;
  GPIO_InitStruct.Mode = GPIO_MODE_OUTPUT_PP;
  GPIO_InitStruct.Pull = GPIO_NOPULL;
  GPIO_InitStruct.Speed = GPIO_SPEED_FREQ_LOW;
  HAL_GPIO_Init(GPIOB, &GPIO_InitStruct);

  /*Configure GPIO pin : PE7 */
  GPIO_InitStruct.Pin = GPIO_PIN_7;
  GPIO_InitStruct.Mode = GPIO_MODE_ANALOG;
  GPIO_InitStruct.Pull = GPIO_NOPULL;
  HAL_GPIO_Init(GPIOE, &GPIO_InitStruct);

  /*Configure GPIO pins : PB10 PB11 */
  GPIO_InitStruct.Pin = GPIO_PIN_10|GPIO_PIN_11;
  GPIO_InitStruct.Mode = GPIO_MODE_IT_RISING;
  GPIO_InitStruct.Pull = GPIO_PULLDOWN;
  HAL_GPIO_Init(GPIOB, &GPIO_InitStruct);

  /*Configure GPIO pins : PB13 PB14 PB15 PB4
                           PB5 */
  GPIO_InitStruct.Pin = GPIO_PIN_13|GPIO_PIN_14|GPIO_PIN_15|GPIO_PIN_4
                          |GPIO_PIN_5;
  GPIO_InitStruct.Mode = GPIO_MODE_ANALOG;
  GPIO_InitStruct.Pull = GPIO_NOPULL;
  HAL_GPIO_Init(GPIOB, &GPIO_InitStruct);

  /*Configure GPIO pins : PD8 PD9 PD10 PD11 */
  GPIO_InitStruct.Pin = GPIO_PIN_8|GPIO_PIN_9|GPIO_PIN_10|GPIO_PIN_11;
  GPIO_InitStruct.Mode = GPIO_MODE_OUTPUT_PP;
  GPIO_InitStruct.Pull = GPIO_NOPULL;
  GPIO_InitStruct.Speed = GPIO_SPEED_FREQ_LOW;
  HAL_GPIO_Init(GPIOD, &GPIO_InitStruct);

  /*Configure GPIO pins : PD12 PD13 PD14 PD15 */
  GPIO_InitStruct.Pin = GPIO_PIN_12|GPIO_PIN_13|GPIO_PIN_14|GPIO_PIN_15;
  GPIO_InitStruct.Mode = GPIO_MODE_IT_RISING;
  GPIO_InitStruct.Pull = GPIO_PULLDOWN;
  HAL_GPIO_Init(GPIOD, &GPIO_InitStruct);

  /*Configure GPIO pins : PC7 PC8 */
  GPIO_InitStruct.Pin = GPIO_PIN_7|GPIO_PIN_8;
  GPIO_InitStruct.Mode = GPIO_MODE_IT_RISING;
  GPIO_InitStruct.Pull = GPIO_PULLDOWN;
  HAL_GPIO_Init(GPIOC, &GPIO_InitStruct);

  /*Configure GPIO pins : PD0 PD1 PD2 PD3
                           PD4 PD5 PD6 PD7 */
  GPIO_InitStruct.Pin = GPIO_PIN_0|GPIO_PIN_1|GPIO_PIN_2|GPIO_PIN_3
                          |GPIO_PIN_4|GPIO_PIN_5|GPIO_PIN_6|GPIO_PIN_7;
  GPIO_InitStruct.Mode = GPIO_MODE_ANALOG;
  GPIO_InitStruct.Pull = GPIO_NOPULL;
  HAL_GPIO_Init(GPIOD, &GPIO_InitStruct);

  /*Configure GPIO pin : PB9 */
  GPIO_InitStruct.Pin = GPIO_PIN_9;
  GPIO_InitStruct.Mode = GPIO_MODE_IT_RISING;
  GPIO_InitStruct.Pull = GPIO_NOPULL;
  HAL_GPIO_Init(GPIOB, &GPIO_InitStruct);

  /* EXTI interrupt init*/
  HAL_NVIC_SetPriority(EXTI9_5_IRQn, 2, 0);
  HAL_NVIC_EnableIRQ(EXTI9_5_IRQn);

  HAL_NVIC_SetPriority(EXTI15_10_IRQn, 2, 0);
  HAL_NVIC_EnableIRQ(EXTI15_10_IRQn);

}

void _Error_Handler(char *file, int line)
{
  while(1)
  {
  }
}

/************************ (C) COPYRIGHT STMicroelectronics *****END OF FILE****/
